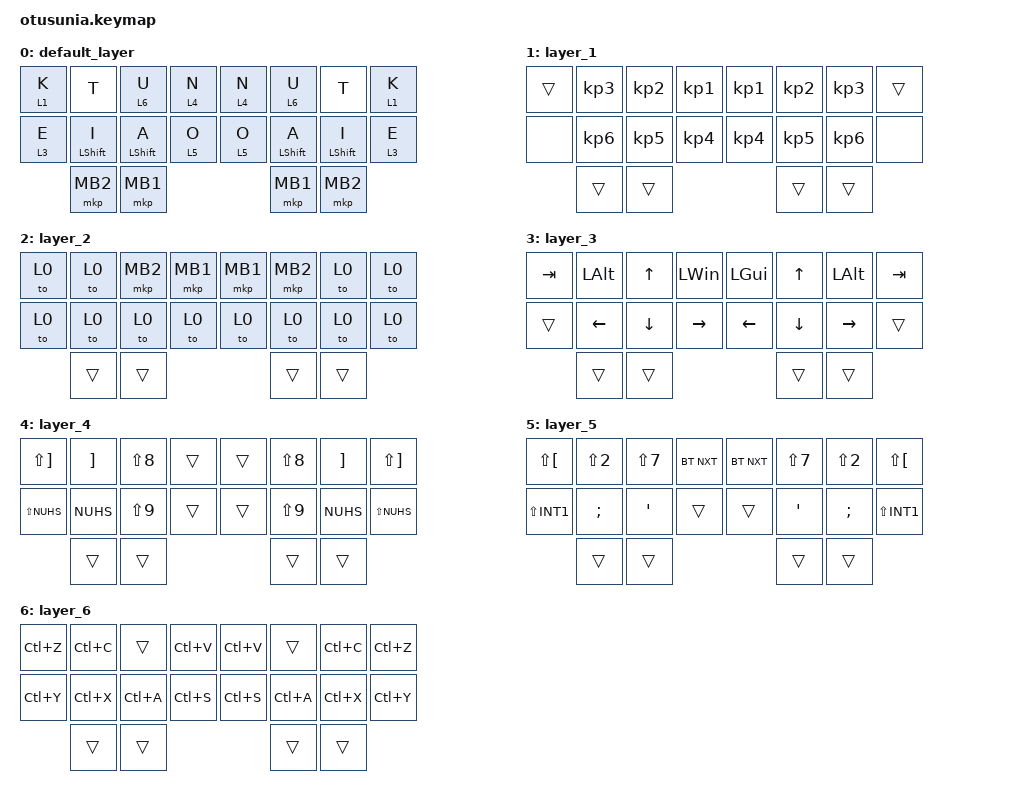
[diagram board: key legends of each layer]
#include <behaviors/mouse_keys.dtsi>
#include <behaviors.dtsi>
#include <dt-bindings/zmk/bt.h>
#include <dt-bindings/zmk/keys.h>
#include <dt-bindings/zmk/mouse.h>
#include <dt-bindings/zmk/outputs.h>

/ {
    combos {
        compatible = "zmk,combos";

        g {
            bindings = <&kp G>;
            key-positions = <4 12>;
            layers = <0>;
        };

        g2 {
            bindings = <&kp G>;
            key-positions = <3 11>;
            layers = <0>;
        };

        d {
            bindings = <&kp D>;
            key-positions = <13 5>;
            layers = <0>;
        };

        d2 {
            bindings = <&kp D>;
            key-positions = <2 10>;
            layers = <0>;
        };

        j {
            bindings = <&kp J>;
            key-positions = <6 14>;
            layers = <0>;
        };

        j2 {
            bindings = <&kp J>;
            key-positions = <1 9>;
            layers = <0>;
        };

        b {
            bindings = <&kp B>;
            key-positions = <7 15>;
            layers = <0>;
        };

        b2 {
            bindings = <&kp B>;
            key-positions = <0 8>;
            layers = <0>;
        };

        h {
            bindings = <&kp H>;
            key-positions = <4 6>;
            layers = <0>;
        };

        h2 {
            bindings = <&kp H>;
            key-positions = <3 1>;
            layers = <0>;
        };

        s {
            bindings = <&kp S>;
            key-positions = <5 4>;
            layers = <0>;
        };

        s2 {
            bindings = <&kp S>;
            key-positions = <2 3>;
            layers = <0>;
        };

        r {
            bindings = <&kp R>;
            key-positions = <5 6>;
            layers = <0>;
        };

        r2 {
            bindings = <&kp R>;
            key-positions = <2 1>;
            layers = <0>;
        };

        y {
            bindings = <&kp Y>;
            key-positions = <6 7>;
            layers = <0>;
        };

        y2 {
            bindings = <&kp Y>;
            key-positions = <1 0>;
            layers = <0>;
        };

        m {
            bindings = <&kp M>;
            key-positions = <5 6 4>;
            layers = <0>;
        };

        m2 {
            bindings = <&kp M>;
            key-positions = <1 2 3>;
            layers = <0>;
        };

        w {
            bindings = <&kp W>;
            key-positions = <4 12 5>;
            layers = <0>;
        };

        w2 {
            bindings = <&kp W>;
            key-positions = <2 3 11>;
        };

        f {
            bindings = <&kp F>;
            key-positions = <12 15>;
            layers = <0>;
        };

        f2 {
            bindings = <&kp F>;
            key-positions = <11 8>;
            layers = <0>;
        };

        p {
            bindings = <&kp P>;
            key-positions = <4 7>;
            layers = <0>;
        };

        p2 {
            bindings = <&kp P>;
            key-positions = <3 0>;
            layers = <0>;
        };

        z {
            bindings = <&kp Z>;
            key-positions = <6 5 7>;
            layers = <0>;
        };

        z2 {
            bindings = <&kp Z>;
            key-positions = <1 0 2>;
            layers = <0>;
        };

        x {
            bindings = <&kp X>;
            key-positions = <5 7>;
            layers = <0>;
        };

        x2 {
            bindings = <&kp X>;
            key-positions = <0 2>;
        };

        c {
            bindings = <&kp C>;
            key-positions = <12 14>;
            layers = <0>;
        };

        c2 {
            bindings = <&kp C>;
            key-positions = <11 9>;
            layers = <0>;
        };

        v {
            bindings = <&kp V>;
            key-positions = <15 13>;
            layers = <0>;
        };

        v2 {
            bindings = <&kp V>;
            key-positions = <8 10>;
            layers = <0>;
        };

        q {
            bindings = <&kp Q>;
            key-positions = <4 7 6 5>;
        };

        q2 {
            bindings = <&kp Q>;
            key-positions = <0 3 1 2>;
            layers = <0>;
        };

        l {
            bindings = <&kp L>;
            key-positions = <13 12 4>;
            layers = <0>;
        };

        l2 {
            bindings = <&kp L>;
            key-positions = <11 10 3>;
            layers = <0>;
        };

        enter {
            bindings = <&kp ENTER>;
            key-positions = <14 15>;
            layers = <0>;
        };

        enter2 {
            bindings = <&kp ENTER>;
            key-positions = <9 8>;
            layers = <0>;
        };

        space {
            bindings = <&kp SPACE>;
            key-positions = <13 12>;
            layers = <0>;
        };

        space2 {
            bindings = <&kp SPACE>;
            key-positions = <10 11>;
            layers = <0>;
        };

        back {
            bindings = <&kp BACKSPACE>;
            key-positions = <14 13>;
            layers = <0>;
        };

        back2 {
            bindings = <&kp BACKSPACE>;
            key-positions = <9 10>;
            layers = <0>;
        };

        hankaku {
            bindings = <&kp GRAVE>;
            key-positions = <14 13 12>;
            layers = <0>;
        };

        hankaku2 {
            bindings = <&kp GRAVE>;
            key-positions = <11 10 9>;
            layers = <0>;
        };

        conm {
            bindings = <&kp COMMA>;
            key-positions = <13 4>;
            layers = <0>;
        };

        conm2 {
            bindings = <&kp COMMA>;
            key-positions = <3 10>;
            layers = <0>;
        };

        dot {
            bindings = <&kp PERIOD>;
            key-positions = <12 5>;
            layers = <0>;
        };

        dot2 {
            bindings = <&kp PERIOD>;
            key-positions = <2 11>;
            layers = <0>;
        };

        bikkuri {
            bindings = <&kp EXCLAMATION>;
            key-positions = <6 15>;
            layers = <0>;
        };

        bikkuri2 {
            bindings = <&kp EXCLAMATION>;
            key-positions = <1 8>;
            layers = <0>;
        };

        hatena {
            bindings = <&kp QUESTION>;
            key-positions = <7 14>;
            layers = <0>;
        };

        hatena2 {
            bindings = <&kp QUESTION>;
            key-positions = <0 9>;
            layers = <0>;
        };

        haihuni {
            bindings = <&kp MINUS>;
            key-positions = <15 4>;
            layers = <0>;
        };

        haihuniii {
            bindings = <&kp MINUS>;
            key-positions = <3 8>;
            layers = <0>;
        };

        seven {
            bindings = <&kp KP_N7>;
            key-positions = <4 5>;
            layers = <1>;
        };

        seventwo {
            bindings = <&kp KP_N7>;
            key-positions = <3 2>;
            layers = <1>;
        };

        eight {
            bindings = <&kp KP_N8>;
            key-positions = <5 6>;
            layers = <1>;
        };

        eighttwo {
            bindings = <&kp KP_N8>;
            key-positions = <2 1>;
            layers = <1>;
        };

        nine {
            bindings = <&kp KP_N9>;
            key-positions = <13 12>;
            layers = <1>;
        };

        ninetwo {
            bindings = <&kp KP_N9>;
            key-positions = <11 10>;
            layers = <1>;
        };

        zero {
            bindings = <&kp KP_N0>;
            key-positions = <13 14>;
            layers = <1>;
        };

        zerotwo {
            bindings = <&kp KP_N0>;
            key-positions = <9 10>;
            layers = <1>;
        };

        plus {
            bindings = <&kp LS(SEMI)>;
            key-positions = <4 12>;
            layers = <1>;
        };

        plus2 {
            bindings = <&kp LS(SEMI)>;
            key-positions = <11 3>;
            layers = <1>;
        };

        astrk {
            bindings = <&kp LS(SQT)>;
            key-positions = <5 13>;
            layers = <1>;
        };

        astrk2 {
            bindings = <&kp LS(SQT)>;
            key-positions = <2 10>;
            layers = <1>;
        };

        slash {
            bindings = <&kp SLASH>;
            key-positions = <6 14>;
            layers = <1>;
        };

        slash2 {
            bindings = <&kp SLASH>;
            key-positions = <1 9>;
            layers = <1>;
        };

        percent {
            bindings = <&kp LS(N5)>;
            key-positions = <6 4>;
            layers = <1>;
        };

        percent2 {
            bindings = <&kp LS(N5)>;
            key-positions = <1 3>;
            layers = <1>;
        };

        equal {
            bindings = <&kp LS(MINUS)>;
            key-positions = <12 14>;
            layers = <1>;
        };

        equal2 {
            bindings = <&kp LS(MINUS)>;
            key-positions = <11 9>;
            layers = <1>;
        };

        lyamakakko {
            bindings = <&kp LS(COMMA)>;
            key-positions = <5 7>;
            layers = <4>;
        };

        lyamakakko2 {
            bindings = <&kp LS(COMMA)>;
            key-positions = <0 2>;
            layers = <4>;
        };

        ryamakakko {
            bindings = <&kp LS(DOT)>;
            key-positions = <13 15>;
            layers = <4>;
        };

        ryamakakko2 {
            bindings = <&kp LS(DOT)>;
            key-positions = <8 10>;
            layers = <4>;
        };

        and {
            bindings = <&kp LS(N6)>;
            key-positions = <5 6>;
            layers = <5>;
        };

        and2 {
            bindings = <&kp LS(N6)>;
            key-positions = <2 1>;
            layers = <5>;
        };

        pipe {
            bindings = <&kp LS(INT3)>;
            key-positions = <6 7>;
            layers = <5>;
        };

        pipe2 {
            bindings = <&kp LS(INT3)>;
            key-positions = <0 1>;
            layers = <5>;
        };

        at {
            bindings = <&kp LBKT>;
            key-positions = <13 14>;
            layers = <5>;
        };

        at2 {
            bindings = <&kp LBKT>;
            key-positions = <9 10>;
            layers = <5>;
        };

        hash {
            bindings = <&kp LS(N3)>;
            key-positions = <14 15>;
            layers = <5>;
        };

        hash2 {
            bindings = <&kp LS(N3)>;
            key-positions = <9 8>;
            layers = <5>;
        };

        bslash {
            bindings = <&kp INT1>;
            key-positions = <5 13>;
            layers = <5>;
        };

        bslash2 {
            bindings = <&kp INT1>;
            key-positions = <10 2>;
            layers = <5>;
        };

        yen {
            bindings = <&kp INT3>;
            key-positions = <6 14>;
            layers = <5>;
        };

        yen2 {
            bindings = <&kp INT3>;
            key-positions = <1 9>;
            layers = <5>;
        };

        doll {
            bindings = <&kp LS(N4)>;
            key-positions = <7 15>;
            layers = <5>;
        };

        doll2 {
            bindings = <&kp LS(N4)>;
            key-positions = <0 8>;
            layers = <5>;
        };

        wintab {
            bindings = <&kp LG(TAB)>;
            key-positions = <4 12>;
            layers = <6>;
        };

        wintab2 {
            bindings = <&kp LG(TAB)>;
            key-positions = <3 11>;
            layers = <6>;
        };

        relod {
            bindings = <&kp LC(R)>;
            key-positions = <6 14>;
            layers = <6>;
        };

        relod2 {
            bindings = <&kp LC(R)>;
            key-positions = <1 9>;
            layers = <6>;
        };

        search {
            bindings = <&kp LC(F)>;
            key-positions = <7 15>;
            layers = <6>;
        };

        search2 {
            bindings = <&kp LC(F)>;
            key-positions = <0 8>;
            layers = <6>;
        };

        close {
            bindings = <&kp LC(W)>;
            key-positions = <14 12>;
            layers = <6>;
        };

        close2 {
            bindings = <&kp LC(W)>;
            key-positions = <11 9>;
            layers = <6>;
        };

        kaigyou {
            bindings = <&kp LC(ENTER)>;
            key-positions = <14 15>;
            layers = <6>;
        };

        kaigyou2 {
            bindings = <&kp LC(ENTER)>;
            key-positions = <8 9>;
            layers = <6>;
        };

        btclr_all {
            bindings = <&bt BT_CLR_ALL>;
            key-positions = <12 13 14 15 18 19>;
            layers = <0>;
        };

        btclr_all2 {
            bindings = <&bt BT_CLR_ALL>;
            key-positions = <8 9 10 11 16 17>;
            layers = <0>;
        };

        outble {
            bindings = <&out OUT_BLE>;
            key-positions = <8 9 10 11 3 2 1 0>;
            layers = <0>;
        };

        outble2 {
            bindings = <&out OUT_BLE>;
            key-positions = <4 12 4 5 6 13 6 7 14 15>;
            layers = <0>;
        };

        tab {
            bindings = <&kp TAB>;
            key-positions = <15 14 13 12>;
        };

        tab2 {
            bindings = <&kp TAB>;
            key-positions = <11 10 9 8>;
        };
    };

    behaviors {
        mymt_behavior: mymt_behavior {
            compatible = "zmk,behavior-hold-tap";
            label = "MYMT_BEHAVIOR";
            bindings = <&kp>, <&kp>;

            #binding-cells = <2>;
            tapping-term-ms = <300>;
            flavor = "tap-preferred";
        };

        mylt_behavior: mylt_behavior {
            compatible = "zmk,behavior-hold-tap";
            label = "MYLT_BEHAVIOR";
            bindings = <&mo>, <&kp>;

            #binding-cells = <2>;
            tapping-term-ms = <300>;
            flavor = "tap-preferred";
        };
    };

    keymap {
        compatible = "zmk,keymap";

        default_layer {
            // ------------------------------------------------------------------------------------------
            // | SW1 | SW2 | SW3 | SW4 | SW5 | SW6 | SW7 | SW8 |  
            // | SW9 | SW10 | SW11 | SW12 | SW13 | SW14 | SW15 | SW16 |   
            // ------------------------------------------------------------------------------------------

            bindings = <
&mylt_behavior 1 K  &kp T                        &mylt_behavior 6 U           &mylt_behavior 4 N  &mylt_behavior 4 N  &mylt_behavior 6 U           &kp T                        &mylt_behavior 1 K
&mylt_behavior 3 E  &mymt_behavior LEFT_SHIFT I  &mymt_behavior LEFT_SHIFT A  &mylt_behavior 5 O  &mylt_behavior 5 O  &mymt_behavior LEFT_SHIFT A  &mymt_behavior LEFT_SHIFT I  &mylt_behavior 3 E
                    &mkp MB2                     &mkp MB1                                                             &mkp MB1                     &mkp MB2
            >;
        };

        layer_1 {
            bindings = <
&trans  &kp KP_N3  &kp KP_N2  &kp KP_N1  &kp KP_N1  &kp KP_N2  &kp KP_N3  &trans
&none   &kp KP_N6  &kp KP_N5  &kp KP_N4  &kp KP_N4  &kp KP_N5  &kp KP_N6  &none
        &trans     &trans                           &trans     &trans
            >;
        };

        layer_2 {
            bindings = <
&to 0  &to 0   &mkp MB2  &mkp MB1  &mkp MB1  &mkp MB2  &to 0   &to 0
&to 0  &to 0   &to 0     &to 0     &to 0     &to 0     &to 0   &to 0
       &trans  &trans                        &trans    &trans
            >;
        };

        layer_3 {
            bindings = <
&kp TAB  &kp LEFT_ALT    &kp UP_ARROW    &kp LEFT_WIN     &kp LEFT_GUI    &kp UP_ARROW    &kp LEFT_ALT     &kp TAB
&trans   &kp LEFT_ARROW  &kp DOWN_ARROW  &kp RIGHT_ARROW  &kp LEFT_ARROW  &kp DOWN_ARROW  &kp RIGHT_ARROW  &trans
         &trans          &trans                                           &trans          &trans
            >;
        };

        layer_4 {
            bindings = <
&kp LS(RBKT)  &kp RBKT  &kp LS(N8)  &trans  &trans  &kp LS(N8)  &kp RBKT  &kp LS(RBKT)
&kp LS(NUHS)  &kp NUHS  &kp LS(N9)  &trans  &trans  &kp LS(N9)  &kp NUHS  &kp LS(NUHS)
              &trans    &trans                      &trans      &trans
            >;
        };

        layer_5 {
            bindings = <
&kp LS(LBKT)  &kp LS(N2)  &kp LS(N7)  &bt BT_NXT  &bt BT_NXT  &kp LS(N7)  &kp LS(N2)  &kp LS(LBKT)
&kp LS(INT1)  &kp SEMI    &kp SQT     &trans      &trans      &kp SQT     &kp SEMI    &kp LS(INT1)
              &trans      &trans                              &trans      &trans
            >;
        };

        layer_6 {
            bindings = <
&kp LC(Z)  &kp LC(C)  &trans     &kp LC(V)  &kp LC(V)  &trans     &kp LC(C)  &kp LC(Z)
&kp LC(Y)  &kp LC(X)  &kp LC(A)  &kp LC(S)  &kp LC(S)  &kp LC(A)  &kp LC(X)  &kp LC(Y)
           &trans     &trans                           &trans     &trans
            >;
        };
    };
};
